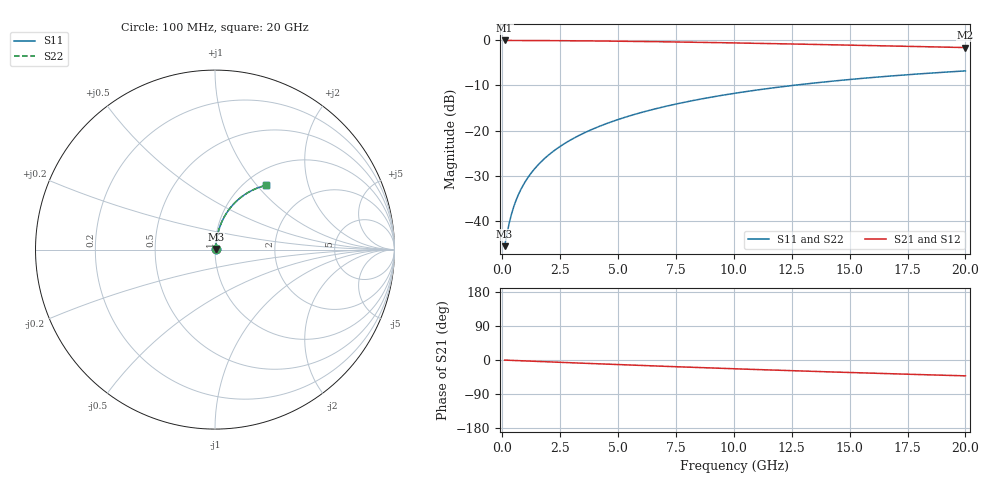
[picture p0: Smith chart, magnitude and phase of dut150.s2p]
! Touchstone file exported from HFSS 2024.1.0
!  File:  C:/UserFiles/LocalFiles/RDL_TSV_Batchsim/temp_RDL_bottom_150_1778697357.aedt
!  Generated:  02:38:42 AM May 14, 2026
!  Design:  RDL_bottom
!  Project:  temp_RDL_bottom_150_1778697357
!  Setup:  Setup1
!  Solution:  Sweep
! Variables:
!  dtsv = 10.80580581um
!  hbump = 3um
!  htsv = 64.59um
!  ldown = 552.19um
!  lrdl = 100um
!  p = 40
!  p1 = 46.06um
!  rhole = 1um
!  t = 450um
!  tdown = 3.44um
!  trdl = 3.915915916um
!  wdown = 12.93um
!  wrdl = 20um
# GHz S MA R 50.000000
! Terminal data exported
! Port[1] = RDL1_T1
! Port[2] = RDL1_T2
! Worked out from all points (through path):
!   200 points, 100 MHz to 20 GHz, reference 50 ohm
!   highest |S21| = -0.04 dB at 100 MHz (marker M1); lowest = -1.6 dB at 20 GHz (marker M2)
!   group delay of S21, straight-line fit = 5.81 ps
!   lowest |S11| = -45.6 dB at 100 MHz (marker M3), VSWR 1.01, Z = 50.4 + j0.281 ohm
!   |S11| at or under -10 dB: start of sweep to 12.53 GHz
!   |S22| runs from -45.6 to -6.8 dB; largest |S21 - S12| = 2.7e-15
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0.1  0.005278 31.9  0.9955 -0.3  0.9955 -0.3  0.005278 31.9
! Gamma 0 0 0 0
! Port Impedance 50 0 50 0
0.2  0.007195 50.6  0.9954 -0.5  0.9954 -0.5  0.007195 50.6
0.3  0.009533 60.5  0.9953 -0.8  0.9953 -0.8  0.009533 60.5
0.4  0.01202 66.2  0.9952 -1.0  0.9952 -1.0  0.01202 66.2
0.5  0.01456 69.8  0.995 -1.3  0.995 -1.3  0.01456 69.8
0.6  0.01713 72.3  0.9949 -1.5  0.9949 -1.5  0.01713 72.3
0.8  0.02231 75.6  0.9945 -2.0  0.9945 -2.0  0.02231 75.6
1.1  0.03014 78.2  0.994 -2.7  0.994 -2.7  0.03014 78.2
1.3  0.03538 79.1  0.9936 -3.2  0.9936 -3.2  0.03538 79.1
1.6  0.04328 80.0  0.9929 -3.9  0.9929 -3.9  0.04328 80.0
2.1  0.05648 80.6  0.9915 -5.2  0.9915 -5.2  0.05648 80.6
2.7  0.07234 80.6  0.9893 -6.6  0.9893 -6.6  0.07234 80.6
3.5  0.09348 79.9  0.9858 -8.5  0.9858 -8.5  0.09348 79.9
4.2  0.1119 79.1  0.982 -10.2  0.982 -10.2  0.1119 79.1
5  0.1329 77.9  0.9771 -12.1  0.9771 -12.1  0.1329 77.9
5.9  0.1562 76.5  0.9709 -14.1  0.9709 -14.1  0.1562 76.5
6.8  0.1793 74.9  0.9639 -16.2  0.9639 -16.2  0.1793 74.9
8.3  0.2171 72.2  0.9512 -19.5  0.9512 -19.5  0.2171 72.2
10.1  0.2607 68.9  0.9344 -23.3  0.9344 -23.3  0.2607 68.9
13.4  0.3352 62.8  0.9009 -30.0  0.9009 -30.0  0.3351 62.8
16.7  0.4012 56.9  0.8658 -36.1  0.8658 -36.1  0.4012 56.9
20  0.4585 51.4  0.8306 -41.8  0.8306 -41.8  0.4584 51.4
